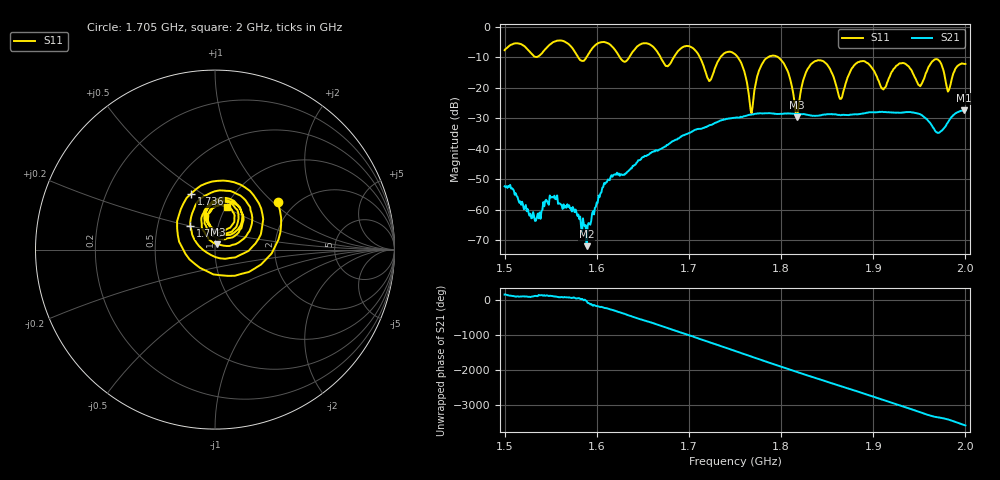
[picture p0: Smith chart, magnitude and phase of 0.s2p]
! NanoVNA-App by SYSJOINT et al v1.1.209 (+OD18)
! Date: 2026-01-21 14:40:31
! Start: 1,5GHz Stop: 2GHz Points: 501
! S-Parameter data: F S11 S21 S12 S22
# Hz S RI R 50
!  Frequency  S11_Real  S11_Imag  S21_Real  S21_Imag  S12_Real  S12_Imag  S22_Real  S22_Imag
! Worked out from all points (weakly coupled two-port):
!   501 points, 1.5 GHz to 2 GHz, reference 50 ohm
!   highest |S21| = -27.43 dB at 1.998 GHz (marker M1); lowest = -72.0 dB at 1.589 GHz (marker M2)
!   lowest |S11| = -29.7 dB at 1.817 GHz (marker M3), VSWR 1.07, Z = 51.2 + j3.08 ohm
!   |S11| at or under -10 dB: 1.712 GHz to 1.734 GHz (22.3 MHz wide, 1.29 % of centre); 1.753 GHz to 1.786 GHz (32.72 MHz wide, 1.85 % of centre); 1.797 GHz to end of sweep (the widest 3 of 6)
!   S12 and S22 are empty: the file has one direction only
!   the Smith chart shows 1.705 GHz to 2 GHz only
!   S11 on the Smith chart (normalised r, x): 1.705 GHz: 1.65, +1.07; 1.736 GHz: 0.64, +0.45; 1.776 GHz: 0.73, +0.20; 2 GHz: 1.01, +0.51
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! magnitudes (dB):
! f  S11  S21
! 1.5 GHz  -7.7  -52.3
! 1.584 GHz  -11.2  -68.0
! 1.589 GHz  -9.9  -72.0
! 1.61 GHz  -5.2  -51.1
! 1.667 GHz  -8.9  -40.5
! 1.705 GHz  -7.2  -34.1
! 1.722 GHz  -17.8  -32.4
! 1.736 GHz  -9.4  -30.6
! 1.75 GHz  -9.0  -29.9
! 1.768 GHz  -28.4  -28.8
! 1.776 GHz  -14.4  -28.4
! 1.8 GHz  -10.9  -28.6
! 1.817 GHz  -29.7  -28.6
! 1.834 GHz  -11.9  -29.2
! 1.864 GHz  -23.7  -29.0
! 1.885 GHz  -11.5  -28.6
! 1.917 GHz  -16.8  -28.0
! 1.951 GHz  -19.5  -28.7
! 1.969 GHz  -10.6  -34.6
! 1.982 GHz  -20.9  -30.9
! 1.998 GHz  -12.1  -27.4
! 2 GHz  -12.2  -27.6
